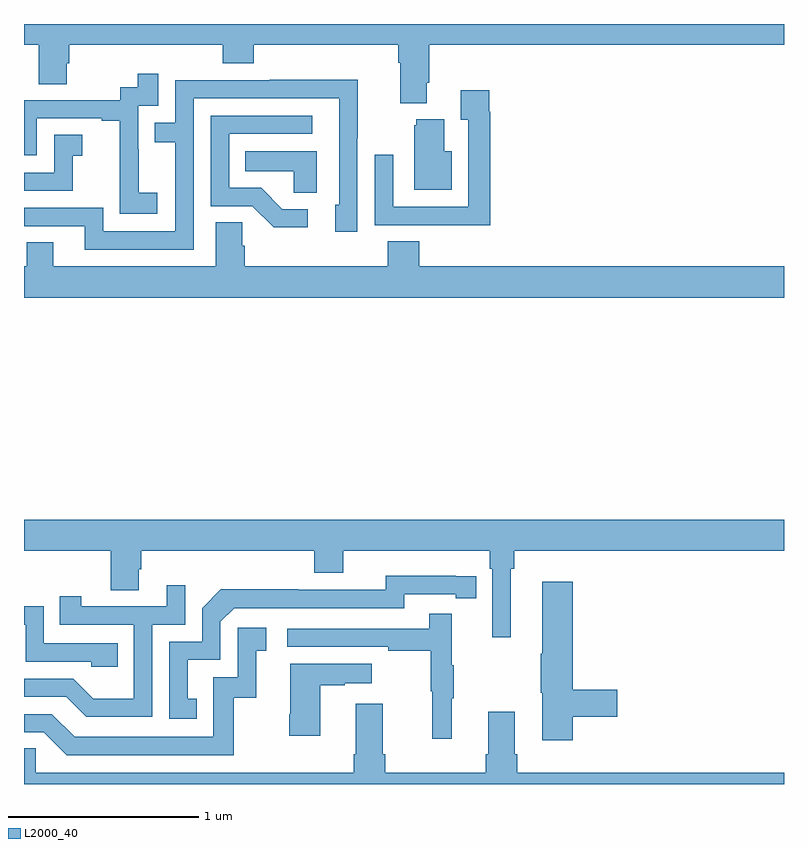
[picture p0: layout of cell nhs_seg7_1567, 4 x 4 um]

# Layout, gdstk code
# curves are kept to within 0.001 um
import gdstk
lib = gdstk.Library(unit=1e-6, precision=1e-09)
def P(c, l, *ps):  # polygons
    for p in ps: c.add(gdstk.Polygon(p, *l))
L2000_40 = (2000, 40)

nhs_seg7_1567 = lib.new_cell('nhs_seg7_1567')
P(nhs_seg7_1567, L2000_40, [(219.121,1057.69),(219.134,1057.69),(219.134,1057.892),(221,1057.892),(221,1058),(217,1058),(217,1057.892),(217.078,1057.892),(217.078,1057.684),(217.225,1057.684),(217.225,1057.794),(217.238,1057.794),(217.238,1057.892),(218.045,1057.892),(218.045,1057.793),(218.21,1057.793),(218.21,1057.892),(218.969,1057.892),(218.969,1057.796),(218.981,1057.796),(218.981,1057.583),(219.121,1057.583)],
  [(217.702,1057.111),(217.604,1057.111),(217.604,1057.34),(217.602,1057.34),(217.602,1057.569),(217.707,1057.569),(217.707,1057.738),(217.599,1057.738),(217.599,1057.668),(217.506,1057.668),(217.506,1057.599),(217,1057.599),(217,1057.308),(217.068,1057.308),(217.068,1057.503),(217.409,1057.503),(217.409,1057.491),(217.505,1057.491),(217.505,1057.207),(217.504,1057.207),(217.504,1057.001),(217.702,1057.001)],
  [(217.893,1057.608),(218.658,1057.608),(218.658,1057.05),(218.639,1057.05),(218.639,1056.906),(218.754,1056.906),(218.754,1057.399),(218.757,1057.399),(218.757,1057.706),(218.293,1057.706),(218.293,1057.704),(217.797,1057.704),(217.797,1057.479),(217.687,1057.479),(217.687,1057.378),(217.797,1057.378),(217.797,1056.909),(217.416,1056.909),(217.416,1057.032),(217,1057.032),(217,1056.936),(217.319,1056.936),(217.319,1056.813),(217.893,1056.813)],
  [(219.455,1057.538),(219.448,1057.538),(219.448,1057.651),(219.299,1057.651),(219.299,1057.495),(219.339,1057.495),(219.339,1057.038),(218.943,1057.038),(218.943,1057.312),(218.847,1057.312),(218.847,1056.942),(219.163,1056.942),(219.163,1056.941),(219.455,1056.941)],
  [(218.494,1057.026),(218.359,1057.026),(218.248,1057.137),(218.079,1057.137),(218.079,1057.422),(218.518,1057.422),(218.518,1057.518),(217.983,1057.518),(217.983,1057.041),(218.202,1057.041),(218.315,1056.929),(218.494,1056.929)],
  [(219.25,1057.33),(219.211,1057.33),(219.211,1057.498),(219.065,1057.498),(219.065,1057.467),(219.053,1057.467),(219.053,1057.127),(219.25,1057.127)],
  [(217.257,1057.307),(217.306,1057.307),(217.306,1057.417),(217.158,1057.417),(217.158,1057.218),(217,1057.218),(217,1057.122),(217.257,1057.122)],
  [(218.542,1057.33),(218.164,1057.33),(218.164,1057.226),(218.421,1057.226),(218.421,1057.111),(218.542,1057.111)],
  [(221,1056.724),(219.08,1056.724),(219.08,1056.857),(218.915,1056.857),(218.915,1056.724),(218.162,1056.724),(218.162,1056.833),(218.148,1056.833),(218.148,1056.956),(218.009,1056.956),(218.009,1056.724),(217.153,1056.724),(217.153,1056.851),(217.014,1056.851),(217.014,1056.724),(217,1056.724),(217,1056.56),(221,1056.56)],
  [(219.562,1055.132),(219.581,1055.132),(219.581,1055.228),(221,1055.228),(221,1055.392),(217,1055.392),(217,1055.228),(217.456,1055.228),(217.456,1055.02),(217.603,1055.02),(217.603,1055.13),(217.616,1055.13),(217.616,1055.228),(218.528,1055.228),(218.528,1055.111),(218.68,1055.111),(218.68,1055.228),(219.452,1055.228),(219.452,1055.132),(219.465,1055.132),(219.465,1054.773),(219.562,1054.773)],
  [(217.91,1054.449),(217.861,1054.449),(217.861,1054.653),(218.034,1054.653),(218.034,1054.854),(218.106,1054.926),(219,1054.926),(219,1054.998),(219.272,1054.998),(219.272,1054.978),(219.38,1054.978),(219.38,1055.094),(218.904,1055.095),(218.904,1055.022),(218.444,1055.022),(218.444,1055.024),(218.036,1055.024),(217.938,1054.926),(217.938,1054.749),(217.764,1054.749),(217.764,1054.344),(217.91,1054.344)],
  [(219.887,1054.354),(220.123,1054.354),(220.123,1054.496),(219.887,1054.496),(219.887,1055.065),(219.728,1055.065),(219.728,1054.685),(219.721,1054.685),(219.721,1054.479),(219.728,1054.479),(219.728,1054.23),(219.887,1054.23)],
  [(217.674,1054.839),(217.848,1054.839),(217.848,1055.047),(217.751,1055.047),(217.751,1054.935),(217.3,1054.935),(217.3,1054.987),(217.189,1054.987),(217.189,1054.839),(217.578,1054.839),(217.578,1054.45),(217.364,1054.45),(217.26,1054.554),(217,1054.554),(217,1054.458),(217.223,1054.458),(217.328,1054.353),(217.674,1054.353)],
  [(217.493,1054.74),(217.104,1054.74),(217.104,1054.935),(217,1054.935),(217,1054.839),(217.008,1054.839),(217.008,1054.644),(217.353,1054.644),(217.353,1054.617),(217.493,1054.617)],
  [(219.251,1054.451),(219.262,1054.451),(219.262,1054.625),(219.251,1054.625),(219.251,1054.897),(219.133,1054.897),(219.133,1054.818),(218.385,1054.818),(218.385,1054.722),(218.917,1054.722),(218.917,1054.702),(219.141,1054.702),(219.141,1054.488),(219.148,1054.488),(219.148,1054.239),(219.251,1054.239)],
  [(218.104,1054.455),(218.222,1054.455),(218.222,1054.701),(218.275,1054.701),(218.275,1054.822),(218.124,1054.822),(218.124,1054.563),(217.995,1054.563),(217.995,1054.248),(217.266,1054.248),(217.146,1054.368),(217,1054.368),(217,1054.272),(217.104,1054.272),(217.224,1054.152),(218.104,1054.152)],
  [(218.56,1054.519),(218.687,1054.519),(218.687,1054.529),(218.83,1054.529),(218.83,1054.633),(218.402,1054.633),(218.402,1054.366),(218.395,1054.366),(218.395,1054.254),(218.56,1054.254)],
  [(221,1054.06),(219.596,1054.06),(219.596,1054.156),(219.583,1054.156),(219.583,1054.381),(219.443,1054.381),(219.443,1054.156),(219.431,1054.156),(219.431,1054.06),(218.9,1054.06),(218.9,1054.156),(218.887,1054.156),(218.887,1054.423),(218.747,1054.423),(218.747,1054.156),(218.735,1054.156),(218.735,1054.06),(217.062,1054.06),(217.062,1054.187),(217,1054.187),(217,1054),(221,1054)])

lib.write_gds('nhs_seg7_1567.gds')
